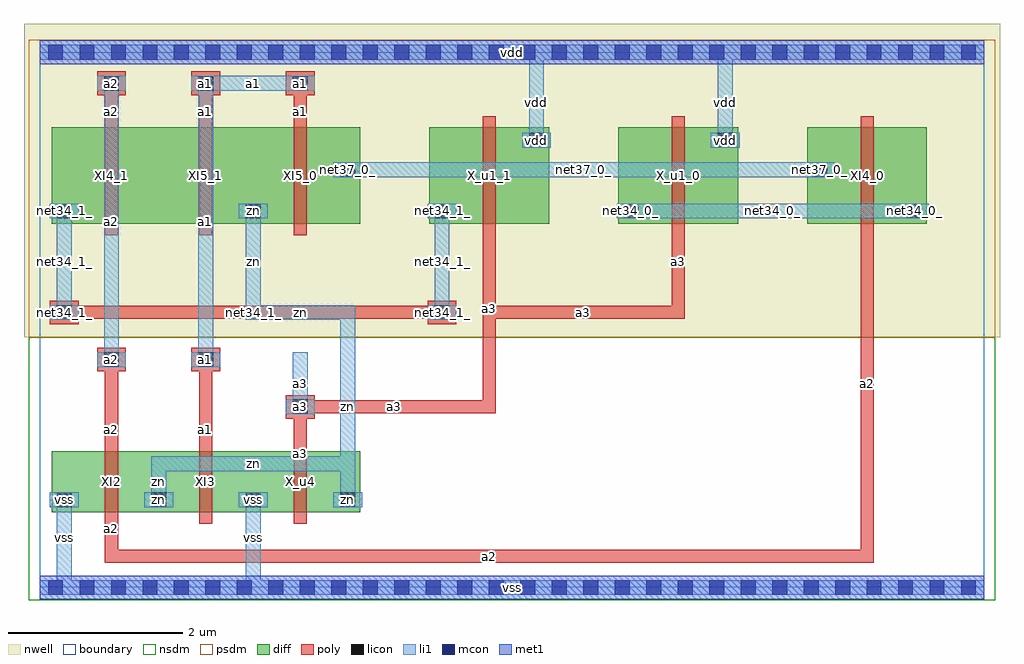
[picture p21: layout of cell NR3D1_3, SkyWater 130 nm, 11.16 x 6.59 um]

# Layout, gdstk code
import gdstk
lib = gdstk.Library(unit=1e-6, precision=1e-09)
def R(c, l, rs):  # rectangles x0, y0, x1, y1
    for r in rs: c.add(gdstk.rectangle(r[:2], r[2:], *l))
def A(c, l, x, y, w, h, nx, ny, dx, dy):  # array of equal rectangles
    R(c, l, [(x+i*dx, y+j*dy, x+i*dx+w, y+j*dy+h) for i in range(nx) for j in range(ny)])
L0_0 = (0, 0)
nwell = (64, 20)
diff = (65, 20)
poly = (66, 20)
licon = (66, 44)
li1 = (67, 20)
mcon = (67, 44)
met1 = (68, 20)
nsdm = (93, 44)
psdm = (94, 20)
boundary = (235, 4)

nr3d1_3 = lib.new_cell('NR3D1_3')
R(nr3d1_3, nwell, [(-0.18,2.86,10.98,6.445)])
A(nr3d1_3, diff, 0.135, 0.86, 1.37, 0.7, 3, 1, 1.08, 0)
A(nr3d1_3, diff, 0.135, 0.86, 0.29, 0.29, 4, 1, 1.08, 0)
A(nr3d1_3, diff, 0.135, 4.16, 1.37, 1.1, 3, 1, 1.08, 0)
A(nr3d1_3, diff, 0.135, 4.16, 0.29, 0.29, 4, 1, 2.16, 0)
A(nr3d1_3, diff, 4.455, 4.16, 1.37, 1.1, 3, 1, 2.16, 0)
R(nr3d1_3, diff, [(9.855,4.16,10.145,4.45), (3.375,4.63,3.665,4.92), (8.775,4.63,9.065,4.92), (5.535,4.97,5.825,5.26), (7.695,4.97,7.985,5.26)])
A(nr3d1_3, poly, 0.745, 0.73, 0.15, 0.96, 3, 1, 1.08, 0)
A(nr3d1_3, poly, 0.745, 4.03, 0.15, 1.36, 3, 1, 1.08, 0)
A(nr3d1_3, poly, 5.065, 4.03, 0.15, 1.36, 3, 1, 2.16, 0)
A(nr3d1_3, poly, 0.745, 5.04, 0.15, 0.8, 3, 1, 1.08, 0)
A(nr3d1_3, poly, 0.655, 5.63, 0.33, 0.27, 3, 1, 1.08, 0)
R(nr3d1_3, poly, [(0.745,0.28,0.895,1.08), (0.745,0.28,9.535,0.43), (9.385,0.28,9.535,4.38), (0.745,0.93,0.895,2.68), (1.825,0.93,1.975,2.68), (2.905,0.93,3.055,2.14), (2.815,1.93,3.145,2.2), (2.905,1.99,5.215,2.14), (5.065,1.99,5.215,4.38), (0.655,2.47,0.985,2.74), (1.735,2.47,2.065,2.74), (0.115,3.01,0.445,3.28), (4.435,3.01,4.765,3.28), (0.205,3.07,4.675,3.22), (5.065,3.07,7.375,3.22), (7.225,3.07,7.375,4.38)])
A(nr3d1_3, licon, 0.195, 0.92, 0.17, 0.17, 4, 1, 1.08, 0)
A(nr3d1_3, licon, 0.195, 4.22, 0.17, 0.17, 4, 1, 2.16, 0)
A(nr3d1_3, licon, 0.735, 5.68, 0.17, 0.17, 3, 1, 1.08, 0)
R(nr3d1_3, licon, [(2.895,1.98,3.065,2.15), (0.735,2.52,0.905,2.69), (1.815,2.52,1.985,2.69), (0.195,3.06,0.365,3.23), (4.515,3.06,4.685,3.23), (9.915,4.22,10.085,4.39), (3.435,4.69,3.605,4.86), (8.835,4.69,9.005,4.86), (5.595,5.03,5.765,5.2), (7.755,5.03,7.925,5.2)])
A(nr3d1_3, li1, 0.115, 0.92, 0.33, 0.17, 4, 1, 1.08, 0)
A(nr3d1_3, li1, 0.195, 3.06, 0.17, 1.33, 3, 1, 2.16, 0)
A(nr3d1_3, li1, 0.115, 4.22, 0.33, 0.17, 4, 1, 2.16, 0)
A(nr3d1_3, li1, 0.655, 5.68, 0.33, 0.17, 3, 1, 1.08, 0)
R(nr3d1_3, li1, [(0,-0.085,10.8,0.085), (0.195,0.06,0.365,1.09), (2.355,0.06,2.525,1.09), (1.275,0.92,1.445,1.5), (3.435,0.92,3.605,3.23), (1.275,1.33,3.605,1.5), (2.815,1.98,3.145,2.15), (2.895,1.98,3.065,2.69), (0.655,2.52,0.985,2.69), (0.735,2.52,0.905,5.85), (1.735,2.52,2.065,2.69), (1.815,2.52,1.985,5.85), (0.115,3.06,0.445,3.23), (2.355,3.06,3.605,3.23), (4.435,3.06,4.765,3.23), (6.675,4.22,10.085,4.39), (9.835,4.22,10.165,4.39), (3.355,4.69,3.685,4.86), (3.435,4.69,9.005,4.86), (8.755,4.69,9.085,4.86), (5.515,5.03,5.845,5.2), (5.595,5.03,5.765,6.06), (7.675,5.03,8.005,5.2), (7.755,5.03,7.925,6.06), (1.815,5.68,3.065,5.85), (0,6.035,10.8,6.205)])
A(nr3d1_3, mcon, 0.095, -0.085, 0.17, 0.17, 30, 2, 0.36, 6.12)
R(nr3d1_3, met1, [(0,-0.135,10.8,0.135), (0,5.985,10.8,6.255)])
R(nr3d1_3, nsdm, [(-0.125,-0.145,10.925,0.145), (-0.125,0.145,10.925,2.86)])
R(nr3d1_3, psdm, [(-0.125,2.86,10.925,5.975), (-0.125,5.975,10.925,6.265)])
R(nr3d1_3, boundary, [(0,0,10.8,6.12)])
nr3d1_3.add(gdstk.FlexPath([(0.115,0.355),(10.165,0.355)], 0, ends="flush", simple_path=True, layer=0, datatype=0))  # L0_0
nr3d1_3.add(gdstk.FlexPath([(0.115,1.005),(10.165,1.005)], 0, ends="flush", simple_path=True, layer=0, datatype=0))  # L0_0
nr3d1_3.add(gdstk.FlexPath([(0.115,1.415),(10.165,1.415)], 0, ends="flush", simple_path=True, layer=0, datatype=0))  # L0_0
nr3d1_3.add(gdstk.FlexPath([(0.115,2.065),(10.165,2.065)], 0, ends="flush", simple_path=True, layer=0, datatype=0))  # L0_0
nr3d1_3.add(gdstk.FlexPath([(0.115,2.605),(10.165,2.605)], 0, ends="flush", simple_path=True, layer=0, datatype=0))  # L0_0
nr3d1_3.add(gdstk.FlexPath([(0.115,3.145),(10.165,3.145)], 0, ends="flush", simple_path=True, layer=0, datatype=0))  # L0_0
nr3d1_3.add(gdstk.FlexPath([(0.115,4.305),(10.165,4.305)], 0, ends="flush", simple_path=True, layer=0, datatype=0))  # L0_0
nr3d1_3.add(gdstk.FlexPath([(0.115,4.775),(10.165,4.775)], 0, ends="flush", simple_path=True, layer=0, datatype=0))  # L0_0
nr3d1_3.add(gdstk.FlexPath([(0.115,5.115),(10.165,5.115)], 0, ends="flush", simple_path=True, layer=0, datatype=0))  # L0_0
nr3d1_3.add(gdstk.FlexPath([(0.115,5.765),(10.165,5.765)], 0, ends="flush", simple_path=True, layer=0, datatype=0))  # L0_0
nr3d1_3.add(gdstk.FlexPath([(0.28,0.06),(0.28,6.06)], 0, ends="flush", simple_path=True, layer=0, datatype=0))  # L0_0
nr3d1_3.add(gdstk.FlexPath([(0.82,0.06),(0.82,6.06)], 0, ends="flush", simple_path=True, layer=0, datatype=0))  # L0_0
nr3d1_3.add(gdstk.FlexPath([(1.36,0.06),(1.36,6.06)], 0, ends="flush", simple_path=True, layer=0, datatype=0))  # L0_0
nr3d1_3.add(gdstk.FlexPath([(1.9,0.06),(1.9,6.06)], 0, ends="flush", simple_path=True, layer=0, datatype=0))  # L0_0
nr3d1_3.add(gdstk.FlexPath([(2.44,0.06),(2.44,6.06)], 0, ends="flush", simple_path=True, layer=0, datatype=0))  # L0_0
nr3d1_3.add(gdstk.FlexPath([(2.98,0.06),(2.98,6.06)], 0, ends="flush", simple_path=True, layer=0, datatype=0))  # L0_0
nr3d1_3.add(gdstk.FlexPath([(3.52,0.06),(3.52,6.06)], 0, ends="flush", simple_path=True, layer=0, datatype=0))  # L0_0
nr3d1_3.add(gdstk.FlexPath([(4.06,0.06),(4.06,6.06)], 0, ends="flush", simple_path=True, layer=0, datatype=0))  # L0_0
nr3d1_3.add(gdstk.FlexPath([(4.6,0.06),(4.6,6.06)], 0, ends="flush", simple_path=True, layer=0, datatype=0))  # L0_0
nr3d1_3.add(gdstk.FlexPath([(5.14,0.06),(5.14,6.06)], 0, ends="flush", simple_path=True, layer=0, datatype=0))  # L0_0
nr3d1_3.add(gdstk.FlexPath([(5.68,0.06),(5.68,6.06)], 0, ends="flush", simple_path=True, layer=0, datatype=0))  # L0_0
nr3d1_3.add(gdstk.FlexPath([(6.22,0.06),(6.22,6.06)], 0, ends="flush", simple_path=True, layer=0, datatype=0))  # L0_0
nr3d1_3.add(gdstk.FlexPath([(6.76,0.06),(6.76,6.06)], 0, ends="flush", simple_path=True, layer=0, datatype=0))  # L0_0
nr3d1_3.add(gdstk.FlexPath([(7.3,0.06),(7.3,6.06)], 0, ends="flush", simple_path=True, layer=0, datatype=0))  # L0_0
nr3d1_3.add(gdstk.FlexPath([(7.84,0.06),(7.84,6.06)], 0, ends="flush", simple_path=True, layer=0, datatype=0))  # L0_0
nr3d1_3.add(gdstk.FlexPath([(8.38,0.06),(8.38,6.06)], 0, ends="flush", simple_path=True, layer=0, datatype=0))  # L0_0
nr3d1_3.add(gdstk.FlexPath([(8.92,0.06),(8.92,6.06)], 0, ends="flush", simple_path=True, layer=0, datatype=0))  # L0_0
nr3d1_3.add(gdstk.FlexPath([(9.46,0.06),(9.46,6.06)], 0, ends="flush", simple_path=True, layer=0, datatype=0))  # L0_0
nr3d1_3.add(gdstk.FlexPath([(10,0.06),(10,6.06)], 0, ends="flush", simple_path=True, layer=0, datatype=0))  # L0_0
nr3d1_3.add(gdstk.Label('X_u4', (2.98,1.21), layer=65, texttype=20))
nr3d1_3.add(gdstk.Label('XI2', (0.82,1.21), layer=65, texttype=20))
nr3d1_3.add(gdstk.Label('XI3', (1.9,1.21), layer=65, texttype=20))
nr3d1_3.add(gdstk.Label('XI4_0', (9.46,4.71), layer=65, texttype=20))
nr3d1_3.add(gdstk.Label('X_u1_0', (7.3,4.71), layer=65, texttype=20))
nr3d1_3.add(gdstk.Label('X_u1_1', (5.14,4.71), layer=65, texttype=20))
nr3d1_3.add(gdstk.Label('XI4_1', (0.82,4.71), layer=65, texttype=20))
nr3d1_3.add(gdstk.Label('XI5_0', (2.98,4.71), layer=65, texttype=20))
nr3d1_3.add(gdstk.Label('XI5_1', (1.9,4.71), layer=65, texttype=20))
nr3d1_3.add(gdstk.Label('zn', (3.52,1.005), layer=65, texttype=20))
nr3d1_3.add(gdstk.Label('zn', (1.36,1.005), layer=65, texttype=20))
nr3d1_3.add(gdstk.Label('zn', (2.44,4.305), layer=65, texttype=20))
nr3d1_3.add(gdstk.Label('net37_0_', (8.92,4.775), layer=65, texttype=20))
nr3d1_3.add(gdstk.Label('net37_0_', (3.52,4.775), layer=65, texttype=20))
nr3d1_3.add(gdstk.Label('net34_0_', (10,4.305), layer=65, texttype=20))
nr3d1_3.add(gdstk.Label('net34_0_', (6.76,4.305), layer=65, texttype=20))
nr3d1_3.add(gdstk.Label('net34_1_', (4.6,4.305), layer=65, texttype=20))
nr3d1_3.add(gdstk.Label('net34_1_', (0.28,4.305), layer=65, texttype=20))
nr3d1_3.add(gdstk.Label('vss', (2.44,1.005), layer=65, texttype=20))
nr3d1_3.add(gdstk.Label('vss', (0.28,1.005), layer=65, texttype=20))
nr3d1_3.add(gdstk.Label('vdd', (7.84,5.115), layer=65, texttype=20))
nr3d1_3.add(gdstk.Label('vdd', (5.68,5.115), layer=65, texttype=20))
nr3d1_3.add(gdstk.Label('a3', (2.98,1.535), layer=66, texttype=20))
nr3d1_3.add(gdstk.Label('a3', (4.06,2.065), layer=66, texttype=20))
nr3d1_3.add(gdstk.Label('a3', (5.14,3.185), layer=66, texttype=20))
nr3d1_3.add(gdstk.Label('a3', (7.3,3.725), layer=66, texttype=20))
nr3d1_3.add(gdstk.Label('a3', (6.22,3.145), layer=66, texttype=20))
nr3d1_3.add(gdstk.Label('a3', (2.98,2.065), layer=66, texttype=20))
nr3d1_3.add(gdstk.Label('a2', (0.82,0.68), layer=66, texttype=20))
nr3d1_3.add(gdstk.Label('a2', (5.14,0.355), layer=66, texttype=20))
nr3d1_3.add(gdstk.Label('a2', (9.46,2.33), layer=66, texttype=20))
nr3d1_3.add(gdstk.Label('a2', (0.82,1.805), layer=66, texttype=20))
nr3d1_3.add(gdstk.Label('a2', (0.82,2.605), layer=66, texttype=20))
nr3d1_3.add(gdstk.Label('a2', (0.82,5.765), layer=66, texttype=20))
nr3d1_3.add(gdstk.Label('a2', (0.82,5.44), layer=66, texttype=20))
nr3d1_3.add(gdstk.Label('a1', (1.9,1.805), layer=66, texttype=20))
nr3d1_3.add(gdstk.Label('a1', (1.9,2.605), layer=66, texttype=20))
nr3d1_3.add(gdstk.Label('a1', (2.98,5.765), layer=66, texttype=20))
nr3d1_3.add(gdstk.Label('a1', (2.98,5.44), layer=66, texttype=20))
nr3d1_3.add(gdstk.Label('a1', (1.9,5.765), layer=66, texttype=20))
nr3d1_3.add(gdstk.Label('a1', (1.9,5.44), layer=66, texttype=20))
nr3d1_3.add(gdstk.Label('net34_1_', (4.6,3.145), layer=66, texttype=20))
nr3d1_3.add(gdstk.Label('net34_1_', (2.44,3.145), layer=66, texttype=20))
nr3d1_3.add(gdstk.Label('net34_1_', (0.28,3.145), layer=66, texttype=20))
nr3d1_3.add(gdstk.Label('zn', (3.52,1.005), layer=66, texttype=44))
nr3d1_3.add(gdstk.Label('zn', (1.36,1.005), layer=66, texttype=44))
nr3d1_3.add(gdstk.Label('zn', (2.44,4.305), layer=66, texttype=44))
nr3d1_3.add(gdstk.Label('a3', (2.98,2.065), layer=66, texttype=44))
nr3d1_3.add(gdstk.Label('a2', (0.82,2.605), layer=66, texttype=44))
nr3d1_3.add(gdstk.Label('a2', (0.82,5.765), layer=66, texttype=44))
nr3d1_3.add(gdstk.Label('a1', (1.9,2.605), layer=66, texttype=44))
nr3d1_3.add(gdstk.Label('a1', (2.98,5.765), layer=66, texttype=44))
nr3d1_3.add(gdstk.Label('a1', (1.9,5.765), layer=66, texttype=44))
nr3d1_3.add(gdstk.Label('net37_0_', (8.92,4.775), layer=66, texttype=44))
nr3d1_3.add(gdstk.Label('net37_0_', (3.52,4.775), layer=66, texttype=44))
nr3d1_3.add(gdstk.Label('net34_0_', (10,4.305), layer=66, texttype=44))
nr3d1_3.add(gdstk.Label('net34_0_', (6.76,4.305), layer=66, texttype=44))
nr3d1_3.add(gdstk.Label('net34_1_', (4.6,4.305), layer=66, texttype=44))
nr3d1_3.add(gdstk.Label('net34_1_', (0.28,4.305), layer=66, texttype=44))
nr3d1_3.add(gdstk.Label('net34_1_', (4.6,3.145), layer=66, texttype=44))
nr3d1_3.add(gdstk.Label('net34_1_', (0.28,3.145), layer=66, texttype=44))
nr3d1_3.add(gdstk.Label('vss', (2.44,1.005), layer=66, texttype=44))
nr3d1_3.add(gdstk.Label('vss', (0.28,1.005), layer=66, texttype=44))
nr3d1_3.add(gdstk.Label('vdd', (7.84,5.115), layer=66, texttype=44))
nr3d1_3.add(gdstk.Label('vdd', (5.68,5.115), layer=66, texttype=44))
nr3d1_3.add(gdstk.Label('zn', (3.52,1.005), layer=67, texttype=16))
nr3d1_3.add(gdstk.Label('zn', (1.36,1.005), layer=67, texttype=16))
nr3d1_3.add(gdstk.Label('zn', (2.44,4.305), layer=67, texttype=16))
nr3d1_3.add(gdstk.Label('zn', (3.52,2.075), layer=67, texttype=16))
nr3d1_3.add(gdstk.Label('zn', (2.98,3.145), layer=67, texttype=16))
nr3d1_3.add(gdstk.Label('zn', (2.44,3.725), layer=67, texttype=16))
nr3d1_3.add(gdstk.Label('zn', (1.36,1.21), layer=67, texttype=16))
nr3d1_3.add(gdstk.Label('zn', (2.44,1.415), layer=67, texttype=16))
nr3d1_3.add(gdstk.Label('a3', (2.98,2.065), layer=67, texttype=16))
nr3d1_3.add(gdstk.Label('a3', (2.98,2.335), layer=67, texttype=16))
nr3d1_3.add(gdstk.Label('a2', (0.82,2.605), layer=67, texttype=16))
nr3d1_3.add(gdstk.Label('a2', (0.82,4.185), layer=67, texttype=16))
nr3d1_3.add(gdstk.Label('a2', (0.82,5.765), layer=67, texttype=16))
nr3d1_3.add(gdstk.Label('a1', (1.9,2.605), layer=67, texttype=16))
nr3d1_3.add(gdstk.Label('a1', (1.9,4.185), layer=67, texttype=16))
nr3d1_3.add(gdstk.Label('a1', (2.44,5.765), layer=67, texttype=16))
nr3d1_3.add(gdstk.Label('a1', (2.98,5.765), layer=67, texttype=16))
nr3d1_3.add(gdstk.Label('a1', (1.9,5.765), layer=67, texttype=16))
nr3d1_3.add(gdstk.Label('net37_0_', (8.92,4.775), layer=67, texttype=20))
nr3d1_3.add(gdstk.Label('net37_0_', (3.52,4.775), layer=67, texttype=20))
nr3d1_3.add(gdstk.Label('net37_0_', (6.22,4.775), layer=67, texttype=20))
nr3d1_3.add(gdstk.Label('net34_0_', (10,4.305), layer=67, texttype=20))
nr3d1_3.add(gdstk.Label('net34_0_', (6.76,4.305), layer=67, texttype=20))
nr3d1_3.add(gdstk.Label('net34_0_', (8.38,4.305), layer=67, texttype=20))
nr3d1_3.add(gdstk.Label('net34_1_', (4.6,4.305), layer=67, texttype=20))
nr3d1_3.add(gdstk.Label('net34_1_', (0.28,4.305), layer=67, texttype=20))
nr3d1_3.add(gdstk.Label('net34_1_', (4.6,3.725), layer=67, texttype=20))
nr3d1_3.add(gdstk.Label('net34_1_', (4.6,3.145), layer=67, texttype=20))
nr3d1_3.add(gdstk.Label('net34_1_', (0.28,3.145), layer=67, texttype=20))
nr3d1_3.add(gdstk.Label('net34_1_', (0.28,3.725), layer=67, texttype=20))
nr3d1_3.add(gdstk.Label('vss', (2.44,1.005), layer=67, texttype=20))
nr3d1_3.add(gdstk.Label('vss', (2.44,0.575), layer=67, texttype=20))
nr3d1_3.add(gdstk.Label('vss', (0.28,1.005), layer=67, texttype=20))
nr3d1_3.add(gdstk.Label('vss', (0.28,0.575), layer=67, texttype=20))
nr3d1_3.add(gdstk.Label('vdd', (7.84,5.115), layer=67, texttype=20))
nr3d1_3.add(gdstk.Label('vdd', (7.84,5.545), layer=67, texttype=20))
nr3d1_3.add(gdstk.Label('vdd', (5.68,5.115), layer=67, texttype=20))
nr3d1_3.add(gdstk.Label('vdd', (5.68,5.545), layer=67, texttype=20))
nr3d1_3.add(gdstk.Label('vss', (5.4,0), layer=67, texttype=16))
nr3d1_3.add(gdstk.Label('vdd', (5.4,6.12), layer=67, texttype=16))
nr3d1_3.add(gdstk.Label('vss', (5.4,0), layer=68, texttype=16))
nr3d1_3.add(gdstk.Label('vdd', (5.4,6.12), layer=68, texttype=16))

lib.write_gds('NR3D1_3.gds')
